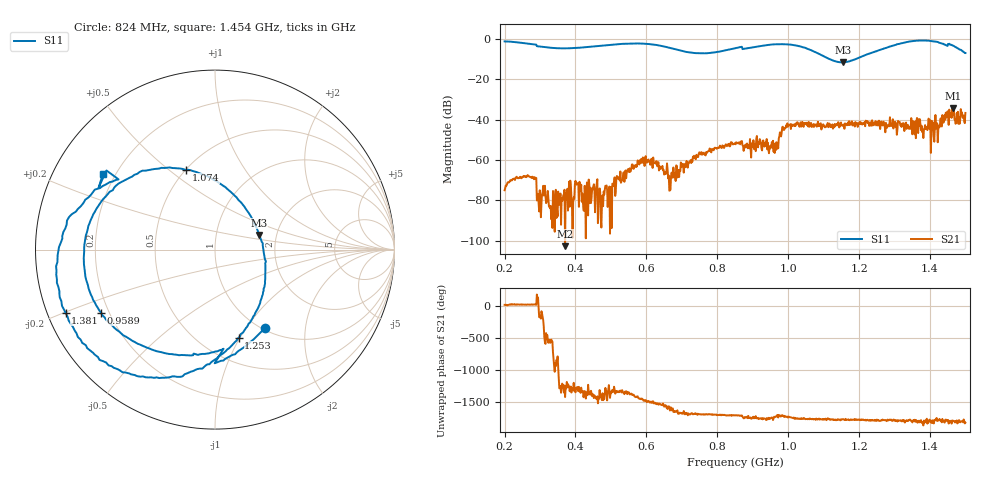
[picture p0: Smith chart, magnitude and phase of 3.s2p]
! NanoVNA-App
! Date: 2024-06-25 16:51:08
! Start: 200MHz Stop: 1.5GHz Points: 801
! S-Parameter data: F S11 S21 S12 S22
# Hz S RI R 50
!  Frequency  S11_Real  S11_Imag  S21_Real  S21_Imag  S12_Real  S12_Imag  S22_Real  S22_Imag
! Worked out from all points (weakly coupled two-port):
!   801 points, 200 MHz to 1.5 GHz, reference 50 ohm
!   highest |S21| = -34.42 dB at 1.466 GHz (marker M1); lowest = -102.7 dB at 370.6 MHz (marker M2)
!   lowest |S11| = -11.7 dB at 1.154 GHz (marker M3), VSWR 1.70, Z = 81.1 + j14.2 ohm
!   |S11| at or under -10 dB: 1.116 GHz to 1.191 GHz (75.08 MHz wide, 6.51 % of centre)
!   S12 and S22 are empty: the file has one direction only
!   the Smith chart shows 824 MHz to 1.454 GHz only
!   S11 on the Smith chart (normalised r, x): 824 MHz: 1.03, -1.22; 958.9 MHz: 0.17, -0.25; 1.074 GHz: 0.50, +0.57; 1.253 GHz: 0.75, -0.99; 1.381 GHz: 0.05, -0.20; 1.454 GHz: 0.15, +0.30
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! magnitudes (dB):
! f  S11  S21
! 200 MHz  -1.3  -75.0
! 268.2 MHz  -2.5  -68.0
! 297.5 MHz  -3.8  -85.5
! 370.6 MHz  -4.7  -102.7
! 417.8 MHz  -4.3  -80.7
! 471.4 MHz  -3.5  -89.1
! 583.5 MHz  -2.3  -61.6
! 633.9 MHz  -3.3  -61.1
! 668 MHz  -4.6  -74.7
! 824 MHz  -5.7  -52.3
! 850 MHz  -4.7  -51.7
! 958.9 MHz  -2.8  -55.9
! 999.5 MHz  -2.8  -43.5
! 1.068 GHz  -5.9  -43.5
! 1.074 GHz  -6.5  -42.4
! 1.154 GHz  -11.7  -43.1
! 1.253 GHz  -5.9  -42.9
! 1.284 GHz  -4.1  -42.7
! 1.381 GHz  -0.9  -49.1
! 1.454 GHz  -2.5  -35.1
! 1.466 GHz  -3.5  -34.4
! 1.5 GHz  -7.1  -36.7
